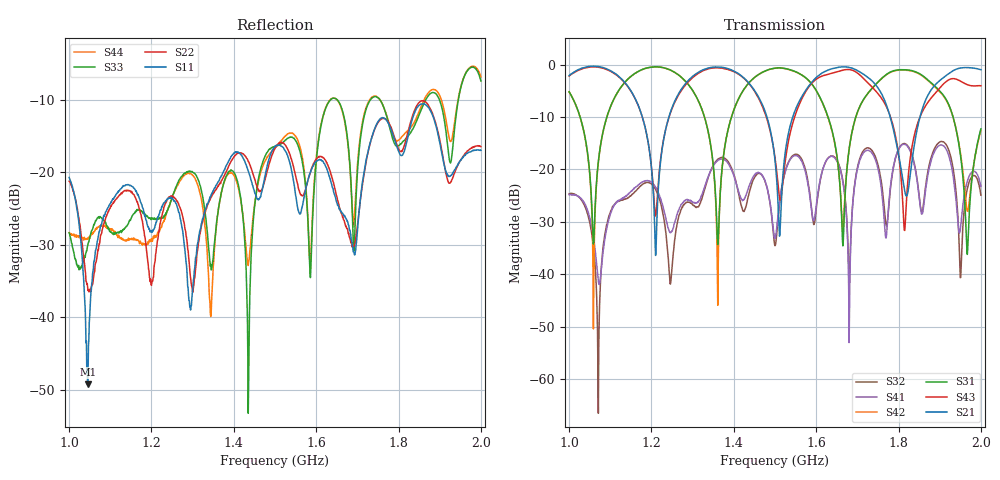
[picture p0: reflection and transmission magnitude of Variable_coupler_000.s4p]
#  HZ  S  DB  R  50.00
! Rohde & Schwarz Vector Network Analyzer
! Rohde-Schwarz,ZNB8-4Port,1311601044102961,2.82
! Created: UTC 1/17/2019, 3:06:59 PM
! freq[Hz]  db:S11  ang:S11  db:S12  ang:S12  db:S13  ang:S13  db:S14  ang:S14
!  db:S21  ang:S21  db:S22  ang:S22  db:S23  ang:S23  db:S24  ang:S24
!  db:S31  ang:S31  db:S32  ang:S32  db:S33  ang:S33  db:S34  ang:S34
!  db:S41  ang:S41  db:S42  ang:S42  db:S43  ang:S43  db:S44  ang:S44
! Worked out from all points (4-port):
!   1001 points, 1 GHz to 2 GHz, reference 50 ohm
!   strongest paths, dB at 1 GHz, 1.25 GHz, 1.5 GHz, 1.75 GHz, 2 GHz:
!     S21: -2.1, -8.2, -18.3, -4.4, -1.0
!     S43: -2.2, -8.4, -17.7, -5.5, -4.0
!     S31: -5.2, -1.2, -0.7, -3.3, -12.3
!     S42: -5.2, -1.2, -0.7, -3.3, -12.5
!     S41: -24.8, -31.8, -33.2, -19.8, -23.3
!     S32: -24.7, -38.7, -34.6, -19.1, -24.9
!   lowest |S11| = -49.3 dB at 1.045 GHz (marker M1), VSWR 1.01, Z = 50.1 - j0.314 ohm
!   |S11| at or under -10 dB: start of sweep to end of sweep
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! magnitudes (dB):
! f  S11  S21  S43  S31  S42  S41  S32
! 1 GHz  -20.7  -2.1  -2.2  -5.2  -5.2  -24.8  -24.7
! 1.045 GHz  -49.3  -0.4  -0.5  -17.0  -17.1  -27.9  -28.5
! 1.21 GHz  -27.3  -36.4  -28.9  -0.4  -0.4  -23.4  -23.8
! 1.361 GHz  -21.4  -0.4  -0.6  -34.4  -46.0  -18.3  -18.1
! 1.511 GHz  -16.3  -32.7  -25.4  -0.6  -0.6  -26.3  -26.6
! 1.665 GHz  -25.8  -0.4  -1.0  -34.6  -31.4  -22.5  -22.2
! 2 GHz  -17.0  -1.0  -4.0  -12.3  -12.5  -23.3  -24.9
